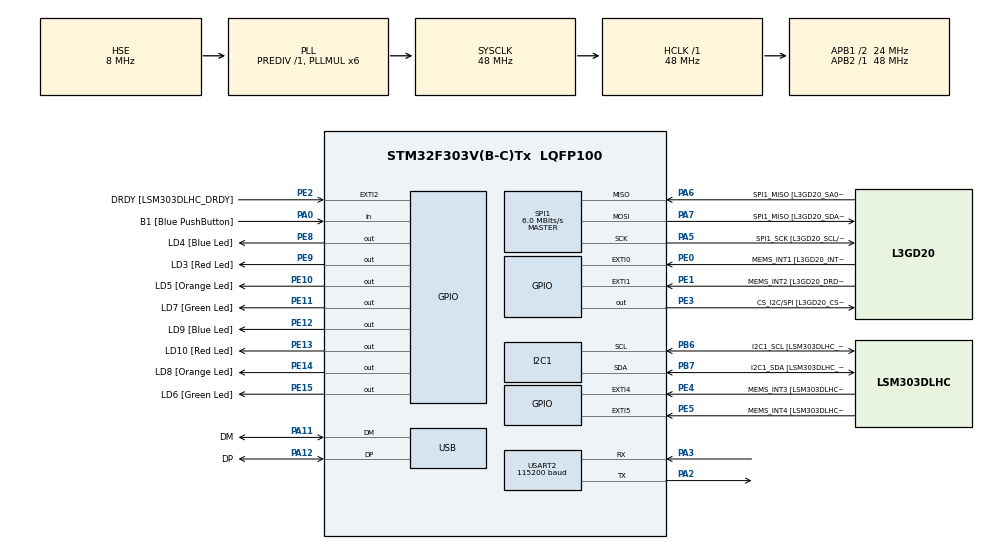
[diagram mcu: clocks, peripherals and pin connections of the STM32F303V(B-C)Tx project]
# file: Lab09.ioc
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I2C1.Timing=0x00201D2B
I2C1.Timing-I2C=0x2000090E
Mcu.Family=STM32F3
Mcu.Name=STM32F303V(B-C)Tx
Mcu.Package=LQFP100
NVIC.PriorityGroup=NVIC_PRIORITYGROUP_0
NVIC.SPI1_IRQn=true\:0\:0\:false\:false\:true\:true\:true\:true
PA0.GPIO_Label=B1 [Blue PushButton]
PA0.Signal=GPIO_Input
PA11.GPIO_Label=DM
PA11.Mode=Device
PA11.Signal=USB_DM
PA12.GPIO_Label=DP
PA12.Mode=Device
PA12.Signal=USB_DP
PA13.GPIO_Label=SWDIO
PA13.Mode=Serial_Wire
PA13.Signal=SYS_JTMS-SWDIO
PA14.GPIO_Label=SWCLK
PA14.Mode=Serial_Wire
PA14.Signal=SYS_JTCK-SWCLK
PA2.Mode=Asynchronous
PA2.Signal=USART2_TX
PA3.Mode=Asynchronous
PA3.Signal=USART2_RX
PA5.GPIO_Label=SPI1_SCK [L3GD20_SCL/SPC]
PA5.Mode=Full_Duplex_Master
PA5.Signal=SPI1_SCK
PA6.GPIO_Label=SPI1_MISO [L3GD20_SA0/SDO]
PA6.Mode=Full_Duplex_Master
PA6.Signal=SPI1_MISO
PA7.GPIO_Label=SPI1_MISO [L3GD20_SDA/SDI/SDO]
PA7.Mode=Full_Duplex_Master
PA7.Signal=SPI1_MOSI
PB3.GPIO_Label=SWO
PB3.Signal=SYS_JTDO-TRACESWO
PB6.GPIO_Label=I2C1_SCL [LSM303DLHC_SCL]
PB6.GPIO_Pu=GPIO_PULLUP
PB6.Mode=I2C
PB6.Signal=I2C1_SCL
PB7.GPIO_Label=I2C1_SDA [LSM303DLHC_SDA]
PB7.GPIO_Pu=GPIO_PULLUP
PB7.Mode=I2C
PB7.Signal=I2C1_SDA
PC14-OSC32_IN.GPIO_Label=OSC32_IN
PC14-OSC32_IN.Signal=RCC_OSC32_IN
PC15-OSC32_OUT.GPIO_Label=OSC32_OUT
PC15-OSC32_OUT.Signal=RCC_OSC32_OUT
PE0.GPIO_Label=MEMS_INT1 [L3GD20_INT1]
PE0.GPIO_ModeDefaultEXTI=GPIO_MODE_EVT_RISING
PE0.Signal=GPXTI0
PE1.GPIO_Label=MEMS_INT2 [L3GD20_DRDY/INT2]
PE1.GPIO_ModeDefaultEXTI=GPIO_MODE_EVT_RISING
PE1.Signal=GPXTI1
PE10.GPIO_Label=LD5 [Orange Led]
PE10.Signal=GPIO_Output
PE11.GPIO_Label=LD7 [Green Led]
PE11.Signal=GPIO_Output
PE12.GPIO_Label=LD9 [Blue Led]
PE12.Signal=GPIO_Output
PE13.GPIO_Label=LD10 [Red Led]
PE13.Signal=GPIO_Output
PE14.GPIO_Label=LD8 [Orange Led]
PE14.Signal=GPIO_Output
PE15.GPIO_Label=LD6 [Green Led]
PE15.Signal=GPIO_Output
PE2.GPIO_Label=DRDY [LSM303DLHC_DRDY]
PE2.GPIO_ModeDefaultEXTI=GPIO_MODE_EVT_RISING
PE2.Signal=GPXTI2
PE3.GPIO_Label=CS_I2C/SPI [L3GD20_CS_I2C/SPI]
PE3.Signal=GPIO_Output
PE4.GPIO_Label=MEMS_INT3 [LSM303DLHC_INT1]
PE4.GPIO_ModeDefaultEXTI=GPIO_MODE_EVT_RISING
PE4.Signal=GPXTI4
PE5.GPIO_Label=MEMS_INT4 [LSM303DLHC_INT2]
PE5.GPIO_ModeDefaultEXTI=GPIO_MODE_EVT_RISING
PE5.Signal=GPXTI5
PE8.GPIO_Label=LD4 [Blue Led]
PE8.Signal=GPIO_Output
PE9.GPIO_Label=LD3 [Red Led]
PE9.Signal=GPIO_Output
PF0-OSC_IN.GPIO_Label=OSC_IN
PF0-OSC_IN.Mode=HSE-External-Clock-Source
PF0-OSC_IN.Signal=RCC_OSC_IN
PF1-OSC_OUT.GPIO_Label=OSC_OUT
PF1-OSC_OUT.Signal=RCC_OSC_OUT
ProjectManager.HeapSize=0x200
ProjectManager.StackSize=0x400
ProjectManager.TargetToolchain=CMake
RCC.AHBFreq_Value=48000000
RCC.APB1CLKDivider=RCC_HCLK_DIV2
RCC.APB1Freq_Value=24000000
RCC.APB1TimFreq_Value=48000000
RCC.APB2Freq_Value=48000000
RCC.APB2TimFreq_Value=48000000
RCC.CortexFreq_Value=48000000
RCC.HCLKFreq_Value=48000000
RCC.HSE_VALUE=8000000
RCC.HSI_VALUE=8000000
RCC.LSE_VALUE=32768
RCC.PLLMUL=RCC_PLL_MUL6
RCC.SYSCLKFreq_VALUE=48000000
RCC.SYSCLKSourceVirtual=RCC_SYSCLKSOURCE_PLLCLK
RCC.USBFreq_Value=48000000
SPI1.BaudRatePrescaler=SPI_BAUDRATEPRESCALER_8
SPI1.BaudRatePrescaler-Full_Duplex_Master=SPI_BAUDRATEPRESCALER_2
SPI1.CLKPhase=SPI_PHASE_2EDGE
SPI1.CLKPolarity=SPI_POLARITY_HIGH
SPI1.CalculateBaudRate=6.0 MBits/s
SPI1.CalculateBaudRate-Full_Duplex_Master=24.0 MBits/s
SPI1.DataSize=SPI_DATASIZE_8BIT
SPI1.Direction=SPI_DIRECTION_2LINES
SPI1.Mode=SPI_MODE_MASTER
SPI1.Mode-Full_Duplex_Master=SPI_MODE_MASTER
SPI1.VirtualType=VM_MASTER
USART2.BaudRate=115200
USART2.VirtualMode-Asynchronous=VM_ASYNC
board=STM32F3DISCOVERY

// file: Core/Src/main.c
/* USER CODE BEGIN Header */
/**
  ******************************************************************************
  * @file           : main.c
  * @brief          : Main program body
  ******************************************************************************
  */
/* USER CODE END Header */
#include "main.h"
#include "stdarg.h"
#include <stdio.h>
#include <string.h>

/* USER CODE BEGIN PTD */
typedef struct {
    // Accelerometer (LSM303AGR)
    int16_t acc_raw_x, acc_raw_y, acc_raw_z;
    float acc_x, acc_y, acc_z;
    float acc_x_offset, acc_y_offset, acc_z_offset;

    // Gyroscope (L3GD20)
    int16_t gyro_raw_x, gyro_raw_y, gyro_raw_z;
    float gyro_x, gyro_y, gyro_z;
    float gyro_x_offset, gyro_y_offset, gyro_z_offset;
} SensorData;
/* USER CODE END PTD */

/* USER CODE BEGIN PD */
// LSM303AGR Defines
#define LSM_ADDR_WRITE  0x32
#define LSM_ADDR_READ   0x33
#define CTRL_REG1_A     0x20
#define CTRL_REG4_A     0x23
#define OUT_X_L_A       0x28

// L3GD20 Defines
#define GYRO_CTRL_REG1  0x20
#define GYRO_OUT_X_L    0x28
/* USER CODE END PD */

I2C_HandleTypeDef hi2c1;

SPI_HandleTypeDef hspi1;

UART_HandleTypeDef huart2;

PCD_HandleTypeDef hpcd_USB_FS;

/* USER CODE BEGIN PV */
SensorData sensor = {0};
/* USER CODE END PV */

void SystemClock_Config(void);
static void MX_GPIO_Init(void);
static void MX_I2C1_Init(void);
static void MX_SPI1_Init(void);
static void MX_USART2_UART_Init(void);
static void MX_USB_PCD_Init(void);
/* USER CODE BEGIN PFP */
void Init_LSM(void);
void Init_Gyro(void);
void Read_LSM(void);
void Read_Gyro(void);
void Offset_Sensors(void);
void Print_Sensors(void);
/* USER CODE END PFP */

/* USER CODE BEGIN 0 */

void Init_LSM(void) {
    uint8_t data;
    // Wake up, 100Hz data rate, all axes enabled
    data = 0x67;
    HAL_I2C_Mem_Write(&hi2c1, LSM_ADDR_WRITE, CTRL_REG1_A, 1, &data, 1, HAL_MAX_DELAY);

    // Normal mode, High resolution disabled, continuous update
    data = 0x00;
    HAL_I2C_Mem_Write(&hi2c1, LSM_ADDR_WRITE, CTRL_REG4_A, 1, &data, 1, HAL_MAX_DELAY);
}

void Init_Gyro(void) {
    // Enable X, Y, Z axes, Power ON, 95Hz ODR
    uint8_t tx[2] = {GYRO_CTRL_REG1, 0b10001111};
    HAL_GPIO_WritePin(GPIOE, GPIO_PIN_3, GPIO_PIN_RESET);
    HAL_SPI_Transmit(&hspi1, tx, 2, HAL_MAX_DELAY);
    HAL_GPIO_WritePin(GPIOE, GPIO_PIN_3, GPIO_PIN_SET);
}

void Read_LSM(void) {
    uint8_t buffer[6];
    // Read 6 bytes starting from OUT_X_L_A.
    // Set MSB (0x80) for address auto-increment: 0x28 | 0x80 = 0xA8
    HAL_I2C_Mem_Read(&hi2c1, LSM_ADDR_READ, OUT_X_L_A | 0x80, 1, buffer, 6, HAL_MAX_DELAY);

    sensor.acc_raw_x = (int16_t)((buffer[1] << 8) | buffer[0]);
    sensor.acc_raw_y = (int16_t)((buffer[3] << 8) | buffer[2]);
    sensor.acc_raw_z = (int16_t)((buffer[5] << 8) | buffer[4]);

    // Scale by 3.9 mg/digit (Normal mode), divide by 1000 to get 'g' -> multiply by 0.0039
    sensor.acc_x = (sensor.acc_raw_x * 0.0039f) - sensor.acc_x_offset;
    sensor.acc_y = (sensor.acc_raw_y * 0.0039f) - sensor.acc_y_offset;
    sensor.acc_z = (sensor.acc_raw_z * 0.0039f) - sensor.acc_z_offset;
}

void Read_Gyro(void) {
    uint8_t tx = GYRO_OUT_X_L | 0x80 | 0x40;  // Read bit + auto-increment bit
    uint8_t rx[6] = {0};

    HAL_GPIO_WritePin(GPIOE, GPIO_PIN_3, GPIO_PIN_RESET);
    HAL_SPI_Transmit(&hspi1, &tx, 1, HAL_MAX_DELAY);
    HAL_SPI_Receive(&hspi1, rx, 6, HAL_MAX_DELAY);
    HAL_GPIO_WritePin(GPIOE, GPIO_PIN_3, GPIO_PIN_SET);

    sensor.gyro_raw_x = (int16_t)((rx[1] << 8) | rx[0]);
    sensor.gyro_raw_y = (int16_t)((rx[3] << 8) | rx[2]);
    sensor.gyro_raw_z = (int16_t)((rx[5] << 8) | rx[4]);

    // Scale by 0.00875 dps/digit
    sensor.gyro_x = (sensor.gyro_raw_x * 0.00875f) - sensor.gyro_x_offset;
    sensor.gyro_y = (sensor.gyro_raw_y * 0.00875f) - sensor.gyro_y_offset;
    sensor.gyro_z = (sensor.gyro_raw_z * 0.00875f) - sensor.gyro_z_offset;
}

void Offset_Sensors(void) {
    float sum_ax = 0, sum_ay = 0, sum_az = 0;
    float sum_gx = 0, sum_gy = 0, sum_gz = 0;

    // Ensure offsets are zeroed out before calibration
    sensor.acc_x_offset = 0; sensor.acc_y_offset = 0; sensor.acc_z_offset = 0;
    sensor.gyro_x_offset = 0; sensor.gyro_y_offset = 0; sensor.gyro_z_offset = 0;

    for (int i = 0; i < 20; i++) {
        Read_LSM();
        Read_Gyro();

        sum_ax += sensor.acc_x;
        sum_ay += sensor.acc_y;
        // Subtract 1g from Z-axis assuming the board is flat on the table
        sum_az += (sensor.acc_z - 1.0f);

        sum_gx += sensor.gyro_x;
        sum_gy += sensor.gyro_y;
        sum_gz += sensor.gyro_z;

        HAL_Delay(10);
    }

    sensor.acc_x_offset = sum_ax / 20.0f;
    sensor.acc_y_offset = sum_ay / 20.0f;
    sensor.acc_z_offset = sum_az / 20.0f;

    sensor.gyro_x_offset = sum_gx / 20.0f;
    sensor.gyro_y_offset = sum_gy / 20.0f;
    sensor.gyro_z_offset = sum_gz / 20.0f;
}

void Print_Sensors(void) {
    char buf[128];

    // Helper variables to split floats into whole and fractional parts
    int ax_i = (int)sensor.acc_x;
    int ax_f = (int)((sensor.acc_x - ax_i) * 100);
    if(ax_f < 0) ax_f = -ax_f; // Ensure fraction is positive
    if(sensor.acc_x < 0 && ax_i == 0) snprintf(buf, sizeof(buf), "-"); // Handle -0.xx

    int ay_i = (int)sensor.acc_y;
    int ay_f = (int)((sensor.acc_y - ay_i) * 100);
    if(ay_f < 0) ay_f = -ay_f;

    int az_i = (int)sensor.acc_z;
    int az_f = (int)((sensor.acc_z - az_i) * 100);
    if(az_f < 0) az_f = -az_f;

    int gx_i = (int)sensor.gyro_x;
    int gx_f = (int)((sensor.gyro_x - gx_i) * 100);
    if(gx_f < 0) gx_f = -gx_f;

    int gy_i = (int)sensor.gyro_y;
    int gy_f = (int)((sensor.gyro_y - gy_i) * 100);
    if(gy_f < 0) gy_f = -gy_f;

    int gz_i = (int)sensor.gyro_z;
    int gz_f = (int)((sensor.gyro_z - gz_i) * 100);
    if(gz_f < 0) gz_f = -gz_f;

    snprintf(buf, sizeof(buf), "%d.%02d,%d.%02d,%d.%02d,%d.%02d,%d.%02d,%d.%02d\r\n",
    ax_i, ax_f, ay_i, ay_f, az_i, az_f,
    gx_i, gx_f, gy_i, gy_f, gz_i, gz_f);
    HAL_UART_Transmit(&huart2, (uint8_t*)buf, strlen(buf), HAL_MAX_DELAY);
}
/* USER CODE END 0 */

int main(void)
{

  /* MCU Configuration--------------------------------------------------------*/

  /* Reset of all peripherals, Initializes the Flash interface and the Systick. */
  HAL_Init();

  /* Configure the system clock */
  SystemClock_Config();

  /* Initialize all configured peripherals */
  MX_GPIO_Init();
  MX_I2C1_Init();
  MX_SPI1_Init();
  MX_USART2_UART_Init();
  MX_USB_PCD_Init();
  /* USER CODE BEGIN 2 */
  Init_LSM();
  Init_Gyro();

  // Wait a moment for sensors to stabilize before calibration
  HAL_Delay(500);
  Offset_Sensors();
  /* USER CODE END 2 */

  /* Infinite loop */
  /* USER CODE BEGIN WHILE */
  while (1)
  {
      Read_LSM();
      Read_Gyro();
      Print_Sensors();

      HAL_Delay(100);
    /* USER CODE END WHILE */

  }
}

void SystemClock_Config(void)
{
  RCC_OscInitTypeDef RCC_OscInitStruct = {0};
  RCC_ClkInitTypeDef RCC_ClkInitStruct = {0};
  RCC_PeriphCLKInitTypeDef PeriphClkInit = {0};

  /** Initializes the RCC Oscillators according to the specified parameters
  * in the RCC_OscInitTypeDef structure.
  */
  RCC_OscInitStruct.OscillatorType = RCC_OSCILLATORTYPE_HSI|RCC_OSCILLATORTYPE_HSE;
  RCC_OscInitStruct.HSEState = RCC_HSE_BYPASS;
  RCC_OscInitStruct.HSEPredivValue = RCC_HSE_PREDIV_DIV1;
  RCC_OscInitStruct.HSIState = RCC_HSI_ON;
  RCC_OscInitStruct.HSICalibrationValue = RCC_HSICALIBRATION_DEFAULT;
  RCC_OscInitStruct.PLL.PLLState = RCC_PLL_ON;
  RCC_OscInitStruct.PLL.PLLSource = RCC_PLLSOURCE_HSE;
  RCC_OscInitStruct.PLL.PLLMUL = RCC_PLL_MUL6;
  if (HAL_RCC_OscConfig(&RCC_OscInitStruct) != HAL_OK)
  {
    Error_Handler();
  }

  /** Initializes the CPU, AHB and APB buses clocks
  */
  RCC_ClkInitStruct.ClockType = RCC_CLOCKTYPE_HCLK|RCC_CLOCKTYPE_SYSCLK
                              |RCC_CLOCKTYPE_PCLK1|RCC_CLOCKTYPE_PCLK2;
  RCC_ClkInitStruct.SYSCLKSource = RCC_SYSCLKSOURCE_PLLCLK;
  RCC_ClkInitStruct.AHBCLKDivider = RCC_SYSCLK_DIV1;
  RCC_ClkInitStruct.APB1CLKDivider = RCC_HCLK_DIV2;
  RCC_ClkInitStruct.APB2CLKDivider = RCC_HCLK_DIV1;

  if (HAL_RCC_ClockConfig(&RCC_ClkInitStruct, FLASH_LATENCY_1) != HAL_OK)
  {
    Error_Handler();
  }
  PeriphClkInit.PeriphClockSelection = RCC_PERIPHCLK_USB|RCC_PERIPHCLK_USART2
                              |RCC_PERIPHCLK_I2C1;
  PeriphClkInit.Usart2ClockSelection = RCC_USART2CLKSOURCE_PCLK1;
  PeriphClkInit.I2c1ClockSelection = RCC_I2C1CLKSOURCE_HSI;
  PeriphClkInit.USBClockSelection = RCC_USBCLKSOURCE_PLL;
  if (HAL_RCCEx_PeriphCLKConfig(&PeriphClkInit) != HAL_OK)
  {
    Error_Handler();
  }
}

static void MX_I2C1_Init(void)
{

  hi2c1.Instance = I2C1;
  hi2c1.Init.Timing = 0x00201D2B;
  hi2c1.Init.OwnAddress1 = 0;
  hi2c1.Init.AddressingMode = I2C_ADDRESSINGMODE_7BIT;
  hi2c1.Init.DualAddressMode = I2C_DUALADDRESS_DISABLE;
  hi2c1.Init.OwnAddress2 = 0;
  hi2c1.Init.OwnAddress2Masks = I2C_OA2_NOMASK;
  hi2c1.Init.GeneralCallMode = I2C_GENERALCALL_DISABLE;
  hi2c1.Init.NoStretchMode = I2C_NOSTRETCH_DISABLE;
  if (HAL_I2C_Init(&hi2c1) != HAL_OK)
  {
    Error_Handler();
  }

  /** Configure Analogue filter
  */
  if (HAL_I2CEx_ConfigAnalogFilter(&hi2c1, I2C_ANALOGFILTER_ENABLE) != HAL_OK)
  {
    Error_Handler();
  }

  /** Configure Digital filter
  */
  if (HAL_I2CEx_ConfigDigitalFilter(&hi2c1, 0) != HAL_OK)
  {
    Error_Handler();
  }

}

static void MX_SPI1_Init(void)
{

  /* SPI1 parameter configuration*/
  hspi1.Instance = SPI1;
  hspi1.Init.Mode = SPI_MODE_MASTER;
  hspi1.Init.Direction = SPI_DIRECTION_2LINES;
  hspi1.Init.DataSize = SPI_DATASIZE_8BIT;
  hspi1.Init.CLKPolarity = SPI_POLARITY_HIGH;
  hspi1.Init.CLKPhase = SPI_PHASE_2EDGE;
  hspi1.Init.NSS = SPI_NSS_SOFT;
  hspi1.Init.BaudRatePrescaler = SPI_BAUDRATEPRESCALER_8;
  hspi1.Init.FirstBit = SPI_FIRSTBIT_MSB;
  hspi1.Init.TIMode = SPI_TIMODE_DISABLE;
  hspi1.Init.CRCCalculation = SPI_CRCCALCULATION_DISABLE;
  hspi1.Init.CRCPolynomial = 7;
  hspi1.Init.CRCLength = SPI_CRC_LENGTH_DATASIZE;
  hspi1.Init.NSSPMode = SPI_NSS_PULSE_DISABLE;
  if (HAL_SPI_Init(&hspi1) != HAL_OK)
  {
    Error_Handler();
  }

}

static void MX_USART2_UART_Init(void)
{

  huart2.Instance = USART2;
  huart2.Init.BaudRate = 115200;
  huart2.Init.WordLength = UART_WORDLENGTH_8B;
  huart2.Init.StopBits = UART_STOPBITS_1;
  huart2.Init.Parity = UART_PARITY_NONE;
  huart2.Init.Mode = UART_MODE_TX_RX;
  huart2.Init.HwFlowCtl = UART_HWCONTROL_NONE;
  huart2.Init.OverSampling = UART_OVERSAMPLING_16;
  huart2.Init.OneBitSampling = UART_ONE_BIT_SAMPLE_DISABLE;
  huart2.AdvancedInit.AdvFeatureInit = UART_ADVFEATURE_NO_INIT;
  if (HAL_UART_Init(&huart2) != HAL_OK)
  {
    Error_Handler();
  }

}

static void MX_USB_PCD_Init(void)
{

  hpcd_USB_FS.Instance = USB;
  hpcd_USB_FS.Init.dev_endpoints = 8;
  hpcd_USB_FS.Init.speed = PCD_SPEED_FULL;
  hpcd_USB_FS.Init.phy_itface = PCD_PHY_EMBEDDED;
  hpcd_USB_FS.Init.low_power_enable = DISABLE;
  hpcd_USB_FS.Init.battery_charging_enable = DISABLE;
  if (HAL_PCD_Init(&hpcd_USB_FS) != HAL_OK)
  {
    Error_Handler();
  }

}

static void MX_GPIO_Init(void)
{
  GPIO_InitTypeDef GPIO_InitStruct = {0};

  /* GPIO Ports Clock Enable */
  __HAL_RCC_GPIOE_CLK_ENABLE();
  __HAL_RCC_GPIOC_CLK_ENABLE();
  __HAL_RCC_GPIOF_CLK_ENABLE();
  __HAL_RCC_GPIOA_CLK_ENABLE();
  __HAL_RCC_GPIOB_CLK_ENABLE();

  /*Configure GPIO pin Output Level */
  HAL_GPIO_WritePin(GPIOE, CS_I2C_SPI_Pin|LD4_Pin|LD3_Pin|LD5_Pin
                          |LD7_Pin|LD9_Pin|LD10_Pin|LD8_Pin
                          |LD6_Pin, GPIO_PIN_RESET);

  /*Configure GPIO pins : DRDY_Pin MEMS_INT3_Pin MEMS_INT4_Pin MEMS_INT1_Pin
                           MEMS_INT2_Pin */
  GPIO_InitStruct.Pin = DRDY_Pin|MEMS_INT3_Pin|MEMS_INT4_Pin|MEMS_INT1_Pin
                          |MEMS_INT2_Pin;
  GPIO_InitStruct.Mode = GPIO_MODE_EVT_RISING;
  GPIO_InitStruct.Pull = GPIO_NOPULL;
  HAL_GPIO_Init(GPIOE, &GPIO_InitStruct);

  /*Configure GPIO pins : CS_I2C_SPI_Pin LD4_Pin LD3_Pin LD5_Pin
                           LD7_Pin LD9_Pin LD10_Pin LD8_Pin
                           LD6_Pin */
  GPIO_InitStruct.Pin = CS_I2C_SPI_Pin|LD4_Pin|LD3_Pin|LD5_Pin
                          |LD7_Pin|LD9_Pin|LD10_Pin|LD8_Pin
                          |LD6_Pin;
  GPIO_InitStruct.Mode = GPIO_MODE_OUTPUT_PP;
  GPIO_InitStruct.Pull = GPIO_NOPULL;
  GPIO_InitStruct.Speed = GPIO_SPEED_FREQ_LOW;
  HAL_GPIO_Init(GPIOE, &GPIO_InitStruct);

  /*Configure GPIO pin : B1_Pin */
  GPIO_InitStruct.Pin = B1_Pin;
  GPIO_InitStruct.Mode = GPIO_MODE_INPUT;
  GPIO_InitStruct.Pull = GPIO_NOPULL;
  HAL_GPIO_Init(B1_GPIO_Port, &GPIO_InitStruct);

}

void Error_Handler(void)
{
  __disable_irq();
  while (1)
  {
  }
}
